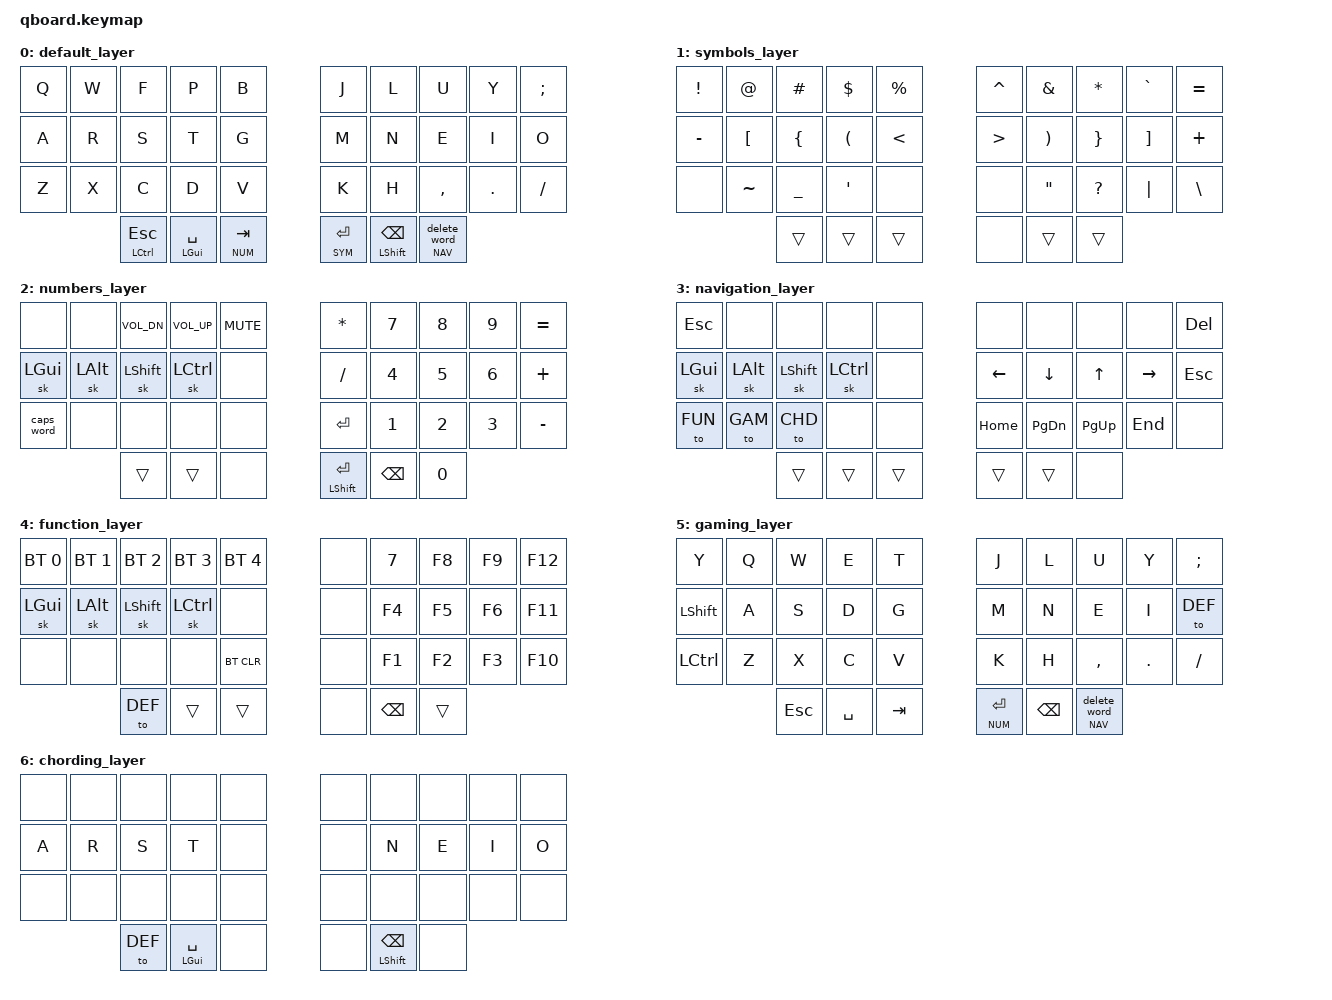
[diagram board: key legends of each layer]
#include <behaviors.dtsi>
#include <dt-bindings/zmk/keys.h>
#include <dt-bindings/zmk/bt.h>
#include <dt-bindings/zmk/mouse.h>

#define DEF 0
#define SYM 1
#define NUM 2
#define NAV 3
#define FUN 4
#define GAM 5
#define CHD 6

// Macro for easy combo definitions
#define COMBO(NAME, BINDINGS, KEYPOS) \
  combo_##NAME { \
    timeout-ms = <50>; \
    bindings = <BINDINGS>; \
    key-positions = <KEYPOS>; \
    layers = <6>; \
  };

/ {
    combos {
        compatible = "zmk,combos";
        // Top Left
        COMBO(q, &kp Q, 10 16)
        COMBO(q2, &kp Q, 10 11 12 13)
        COMBO(w, &kp W, 10 11)
        COMBO(f, &kp F, 11 12)
        COMBO(p, &kp P, 12 13)
        COMBO(b, &kp B, 10 12 13)
        // Bottom Left
        COMBO(z, &kp Z, 10 11 12)
        COMBO(x, &kp X, 11 17)
        COMBO(x2, &kp X, 11 12 13)
        COMBO(c, &kp C, 10 12)
        COMBO(d, &kp D, 11 13)
        COMBO(v, &kp V, 13 18)
        COMBO(v2, &kp V, 10 11 13)
        // Top Right
        COMBO(j, &kp J, 16 17 19)
        COMBO(l, &kp L, 16 17)
        COMBO(u, &kp U, 17 18)
        COMBO(y, &kp Y, 18 19)
        COMBO(semicolon, &kp SEMI, 13 19)
        // Bottom Right
        COMBO(k, &kp K, 16 18 19)
        COMBO(h, &kp H, 16 18)
        COMBO(comma, &kp COMMA, 12 17)
        COMBO(period, &kp DOT, 11 18)
        COMBO(slash, &kp FSLH, 12 19)
        // Middle
        COMBO(g, &kp G, 10 13)
        COMBO(m, &kp M, 16 19)
        // Command Keys
        COMBO(backspace, &kp BSPC, 17 18 19)
        COMBO(deleteword, &delete_word, 16 17 18)
        COMBO(return, &kp RET, 16 17 18 19)
        COMBO(tab, &kp TAB, 10 11 12 13 31)

        // Briefs
        COMBO(the, &brief_the, 13 16 18)
        
    };

    macros {
        delete_word: delete_word {
            compatible = "zmk,behavior-macro";
            #binding-cells = <0>;
            bindings
                = <&macro_press &kp LCTRL>
                , <&macro_tap &kp BSPC>
                , <&macro_release &kp LCTRL>
                ;
        };
        brief_the: brief_the {
            compatible = "zmk,behavior-macro";
            #binding-cells = <0>;
            bindings
                = <&macro_tap &kp T>
                , <&macro_tap &kp H>
                , <&macro_tap &kp E>
                ;
        };
    };

    behaviors {
        hm: homerow_mods {
            compatible = "zmk,behavior-hold-tap";
            #binding-cells = <2>;
            tapping-term-ms = <150>;
            quick-tap-ms = <0>;
            flavor = "tap-preferred";
            bindings = <&kp>, <&kp>;
        };
        tmt: tap_preferred_modtap {
            compatible = "zmk,behavior-hold-tap";
            #binding-cells = <2>;
            tapping-term-ms = <200>;
            quick-tap-ms = <200>;
            flavor = "tap-preferred";
            bindings = <&kp>, <&kp>;
        };
        bmt: balanced_modtap {
            compatible = "zmk,behavior-hold-tap";
            #binding-cells = <2>;
            tapping-term-ms = <200>;
            quick-tap-ms = <200>;
            flavor = "balanced";
            bindings = <&kp>, <&kp>;
        };
        hmt: hold_preferred_modtap {
            compatible = "zmk,behavior-hold-tap";
            #binding-cells = <2>;
            tapping-term-ms = <200>;
            quick-tap-ms = <200>;
            flavor = "hold-preferred";
            bindings = <&kp>, <&kp>;
        };
        ldw: layer_delete_word {
            compatible = "zmk,behavior-hold-tap";
            #binding-cells = <2>;
            tapping-term-ms = <200>;
            quick-tap-ms = <0>;
            flavor = "hold-preferred";
            bindings = <&mo>, <&delete_word>;
        };
        skq: sticky_key_quick_release {
            compatible = "zmk,behavior-sticky-key";
            #binding-cells = <1>;
            bindings = <&kp>;
            release-after-ms = <1000>;
            quick-release;
            ignore-modifiers;
        };
    };

    keymap {
        compatible = "zmk,keymap";

        default_layer {
            // --------------------------------------------------------------------------------------------------------
            // |    Q    |    W    |    F    |    P    |    B    |  |    J    |    L    |    U    |    Y    |    ;    |
            // |    A    |    R    |    S    |    T    |    G    |  |    M    |    N    |    E    |    I    |    O    |
            // |    Z    |    X    |    C    |    D    |    V    |  |    K    |    H    |    ,    |    .    |    /    |
            // --------------------------------------------------------------------------------------------------------
            //                     |   ESC   |  SPACE  |   TAB   |  |  ENTER  |   BSPC  |  R ALT  |
            //                     ----------------------------------------------------------------
            bindings = <
                &kp Q    &kp W    &kp F     &kp P     &kp B             &kp J     &kp L      &kp U     &kp Y     &kp SEMI
                &kp A    &kp R    &kp S     &kp T     &kp G             &kp M     &kp N      &kp E     &kp I     &kp O
                &kp Z    &kp X    &kp C     &kp D     &kp V             &kp K     &kp H      &kp COMMA &kp DOT   &kp FSLH
                        &mt LCTRL ESC  &tmt LGUI SPACE   &lt NUM TAB       &lt SYM RET  &bmt LSHFT BSPC  &ldw NAV 0
            >;
        };
        symbols_layer {
            bindings = <
                &kp EXCL  &kp AT    &kp HASH  &kp DLLR  &kp PRCNT  &kp CARET &kp AMPS  &kp STAR  &kp GRAVE &kp EQUAL
                &kp MINUS &kp LBKT  &kp LBRC  &kp LPAR  &kp LT     &kp GT    &kp RPAR  &kp RBRC  &kp RBKT  &kp PLUS
                &none     &kp TILDE &kp UNDER &kp SQT   &none      &none     &kp DQT   &kp QMARK &kp PIPE  &kp BSLH
                                    &trans    &trans    &trans     &none     &trans    &trans
            >;
        };
        numbers_layer {
            bindings = <
                &none      &none    &kp C_VOL_DN &kp C_VOL_UP &kp C_MUTE    &kp STAR  &kp N7    &kp N8    &kp N9    &kp EQUAL
                &sk LGUI   &sk LALT &sk LSHFT &sk LCTRL &none               &kp FSLH  &kp N4    &kp N5    &kp N6    &kp PLUS
            &caps_word     &none    &none     &none     &none               &kp RET   &kp N1    &kp N2    &kp N3    &kp MINUS
                                    &trans    &trans    &none               &hmt LSHFT RET  &kp BSPC  &kp N0
            >;
        };
        navigation_layer {
            bindings = <
                &kp ESC   &none    &none     &none       &none                &none       &none      &none     &none     &kp DEL
                &sk LGUI   &sk LALT &sk LSHFT &sk LCTRL  &none                &kp LEFT    &kp DOWN   &kp UP    &kp RIGHT &kp ESC
                &to FUN   &to GAM  &to CHD   &none       &none                &kp HOME    &kp PG_DN  &kp PG_UP &kp END   &none
                                   &trans    &trans      &trans               &trans      &trans     &none
            >;
        };
        function_layer {
            bindings = <
    &bt BT_SEL 0 &bt BT_SEL 1 &bt BT_SEL 2 &bt BT_SEL 3 &bt BT_SEL 4        &none    &kp N7    &kp F8    &kp F9    &kp F12
                &sk LGUI   &sk LALT &sk LSHFT &sk LCTRL &none               &none    &kp F4    &kp F5    &kp F6    &kp F11
                &none      &none    &none     &none     &bt BT_CLR          &none    &kp F1    &kp F2    &kp F3    &kp F10
                                    &to DEF   &trans    &trans              &none    &kp BSPC  &trans
            >;
        };
        gaming_layer {
            bindings = <
                &kp Y      &kp Q    &kp W     &kp E     &kp T             &kp J     &kp L      &kp U     &kp Y     &kp SEMI
                &kp LSHFT  &kp A    &kp S     &kp D     &kp G             &kp M     &kp N      &kp E     &kp I     &to DEF
                &kp LCTRL  &kp Z    &kp X     &kp C     &kp V             &kp K     &kp H      &kp COMMA &kp DOT   &kp FSLH
                        &kp ESC     &kp SPACE  &kp TAB                     &lt NUM RET  &kp BSPC  &ldw NAV 0
            >;
        };
        chording_layer {
            bindings = <
                &none  &none  &none  &none  &none    &none  &none  &none  &none  &none
                &kp A  &kp R  &kp S  &kp T  &none    &none  &kp N  &kp E  &kp I  &kp O
                &none  &none  &none  &none  &none    &none  &none  &none  &none  &none
                  &to DEF  &tmt LGUI SPACE  &none    &none  &bmt LSHFT BSPC  &none
            >;
        };
    };
};
